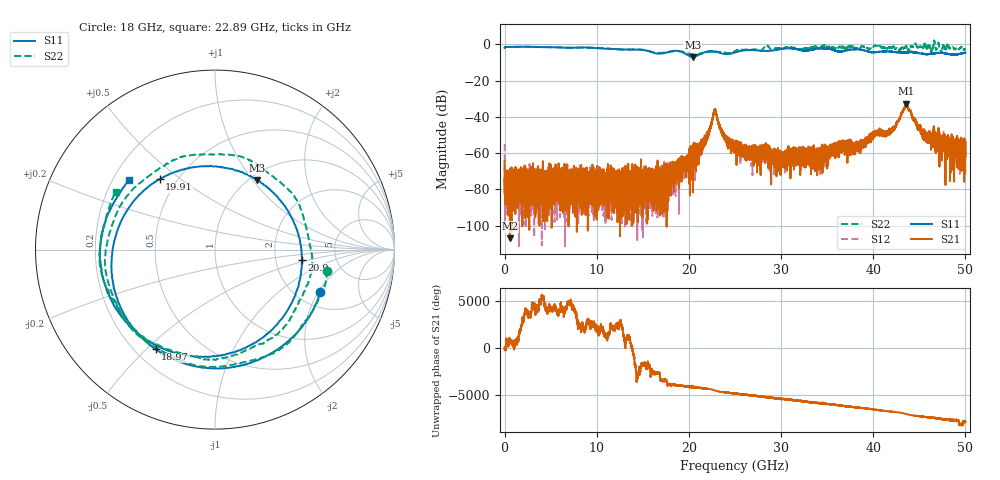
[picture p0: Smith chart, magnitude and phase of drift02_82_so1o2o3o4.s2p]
!Created with skrf (http://scikit-rf.org).
# Hz S RI R 50.0
!freq ReS11 ImS11 ReS21 ImS21 ReS12 ImS12 ReS22 ImS22
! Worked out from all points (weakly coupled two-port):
!   10001 points, 300 kHz to 50 GHz, reference 50 ohm
!   highest |S21| = -32.79 dB at 43.59 GHz (marker M1); lowest = -106.9 dB at 570.3 MHz (marker M2)
!   lowest |S11| = -6.9 dB at 20.41 GHz (marker M3), VSWR 2.64, Z = 54.1 + j52.4 ohm
!   |S11| at or under -10 dB: nowhere
!   |S22| runs from -5.7 to 2.1 dB; largest |S21 - S12| = 0.0031
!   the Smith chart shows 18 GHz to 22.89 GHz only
!   S11 on the Smith chart (normalised r, x): 18 GHz: 2.63, -2.10; 18.97 GHz: 0.28, -0.53; 19.91 GHz: 0.40, +0.42; 20.9 GHz: 2.83, -0.42; 22.89 GHz: 0.27, +0.33
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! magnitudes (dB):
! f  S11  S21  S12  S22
! 300 kHz  -2.0  -64.3  -55.0  -2.1
! 255.3 MHz  -1.4  -72.1  -74.7  -1.4
! 570.3 MHz  -1.5  -106.9  -75.3  -1.5
! 8.335 GHz  -1.7  -78.9  -71.8  -1.9
! 16.67 GHz  -5.2  -76.7  -74.2  -4.7
! 18 GHz  -4.0  -71.8  -68.8  -4.0
! 18.97 GHz  -3.8  -66.5  -65.3  -3.9
! 19.91 GHz  -6.0  -63.7  -65.4  -5.2
! 20.41 GHz  -6.9  -67.6  -62.8  -5.4
! 20.9 GHz  -6.2  -61.4  -60.4  -5.6
! 21.93 GHz  -4.1  -51.4  -50.3  -4.3
! 22.89 GHz  -4.2  -36.8  -36.6  -3.9
! 23.81 GHz  -5.3  -51.1  -50.9  -4.6
! 25 GHz  -4.5  -57.4  -57.5  -3.9
! 29.82 GHz  -2.8  -62.7  -62.0  -2.0
! 33.34 GHz  -3.0  -61.3  -62.0  -1.6
! 38.09 GHz  -2.7  -58.0  -56.1  -2.2
! 41.67 GHz  -3.9  -47.8  -48.1  -1.9
! 43.59 GHz  -4.6  -32.8  -33.3  -1.4
! 45.61 GHz  -5.4  -51.3  -48.9  0.5
! 48.57 GHz  -5.6  -53.7  -54.9  -1.5
! 50 GHz  -4.7  -53.9  -52.8  -2.7
